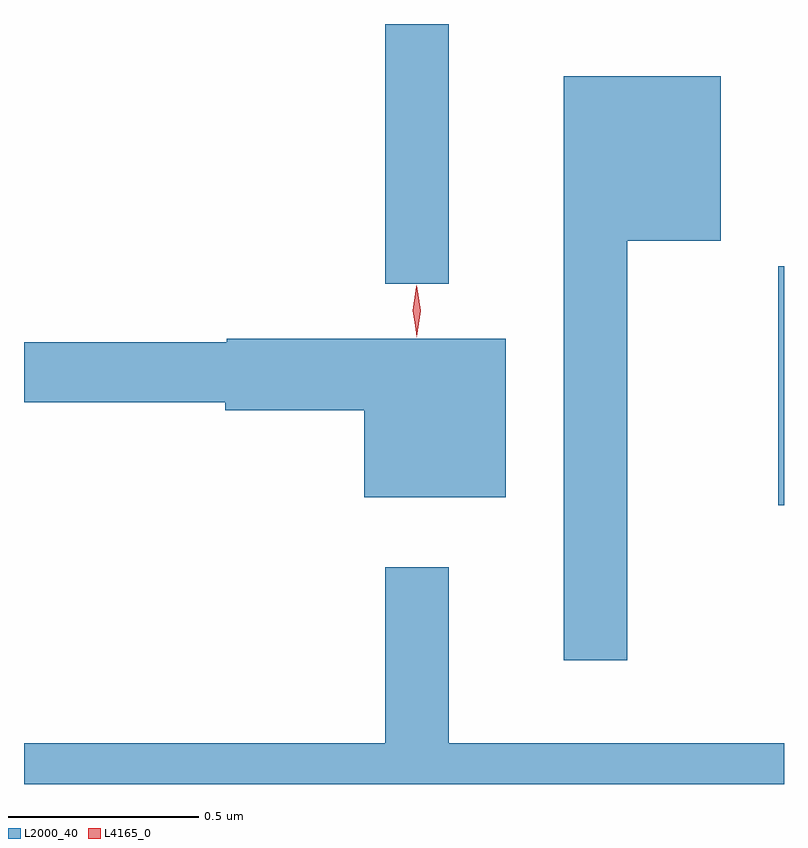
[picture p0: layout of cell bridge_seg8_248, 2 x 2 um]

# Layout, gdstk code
import gdstk
lib = gdstk.Library(unit=1e-6, precision=1e-09)
def R(c, l, rs):  # rectangles x0, y0, x1, y1
    for r in rs: c.add(gdstk.rectangle(r[:2], r[2:], *l))
def P(c, l, *ps):  # polygons
    for p in ps: c.add(gdstk.Polygon(p, *l))
L2000_40 = (2000, 40)
L4165_0 = (4165, 0)

bridge_seg8_248 = lib.new_cell('bridge_seg8_248')
R(bridge_seg8_248, L2000_40, [(1196.886,1868.391,1196.901,1869.019), (1195.851,1868.973,1196.019,1869.657)])
P(bridge_seg8_248, L2000_40, [(1196.489,1869.086),(1196.734,1869.086),(1196.734,1869.519),(1196.321,1869.519),(1196.321,1867.983),(1196.489,1867.983)],
  [(1196.169,1868.829),(1195.435,1868.829),(1195.435,1868.819),(1194.901,1868.819),(1194.901,1868.661),(1195.431,1868.661),(1195.431,1868.641),(1195.796,1868.641),(1195.796,1868.411),(1196.169,1868.411)],
  [(1196.901,1867.764),(1196.019,1867.764),(1196.019,1868.228),(1195.851,1868.228),(1195.851,1867.764),(1194.901,1867.764),(1194.901,1867.657),(1196.901,1867.657)])
P(bridge_seg8_248, L4165_0, [(1195.935,1868.833),(1195.934,1868.834),(1195.925,1868.902),(1195.934,1868.97),(1195.935,1868.97),(1195.935,1868.97),(1195.945,1868.902),(1195.935,1868.834)],
  [(1195.934,1868.838),(1195.934,1868.839),(1195.924,1868.903),(1195.933,1868.966),(1195.933,1868.967),(1195.934,1868.966),(1195.944,1868.903),(1195.934,1868.839)])

lib.write_gds('bridge_seg8_248.gds')
